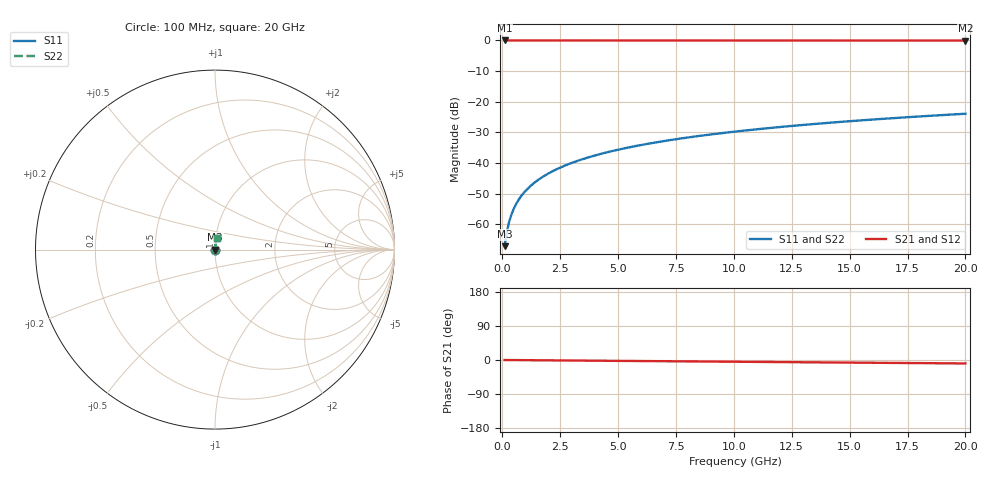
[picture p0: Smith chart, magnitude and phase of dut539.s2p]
! Touchstone file exported from HFSS 2026.1.0
!  File:  C:/ffzhzh/LocalFiles/Ansys_Project_Files/temp_train_TSV_539_1783023982_46388.aedt
!  Generated:  04:28:18 AM Jul  3, 2026
!  Design:  TSV
!  Project:  temp_train_TSV_539_1783023982_46388
! Variables:
!  h_bsmrdl = 2um
!  h_ox = 20um
!  h_rdl = 5um
!  h_sub = 80.97um
!  h_tmrdl = 5um
!  h_tsv = 80.97um
!  h_via = 3um
!  l_bsmrdl = 300um
!  l_sub = 413.1um
!  l_tmrdl = 200um
!  m_sub = 200um
!  pitch = 47.73um
!  r_tsv = 6.55um
!  s_tmrdl = 10um
!  w_bsmrdl = 18um
!  w_sub = 500um
!  w_tmrdl = 12um
!  x_tsv_center1 = 206um
!  x_tsv_center2 = 524um
!  x_tsv_center3 = 736um
!  x_tsv_center4 = 1054um
!  x_tsv_center5 = 1266um
!  x_tsv_center6 = 1584um
# GHz S MA R 50.000000
! Terminal data exported
! Port[1] = TSV1_1_T1
! Port[2] = TSV1_1_T2
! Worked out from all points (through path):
!   200 points, 100 MHz to 20 GHz, reference 50 ohm
!   highest |S21| = 0.00 dB at 100 MHz (marker M1); lowest = 0.0 dB at 20 GHz (marker M2)
!   group delay of S21, straight-line fit = 1.26 ps
!   lowest |S11| = -67.1 dB at 100 MHz (marker M3), VSWR 1.00, Z = 50 + j0.0364 ohm
!   |S11| at or under -10 dB: start of sweep to end of sweep
!   |S22| runs from -67.1 to -23.9 dB; largest |S21 - S12| = 2e-15
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0.1  0.0004414 55.5  0.9998 -0.0  0.9998 -0.0  0.0004414 55.5
! Gamma 0 0 0 0
! Port Impedance 50 0 50 0
0.2  0.0007708 70.3  0.9997 -0.1  0.9997 -0.1  0.0007708 70.3
0.3  0.001119 75.7  0.9997 -0.1  0.9997 -0.1  0.001119 75.7
0.4  0.001469 78.4  0.9997 -0.2  0.9997 -0.2  0.001469 78.4
0.5  0.001817 79.9  0.9997 -0.2  0.9997 -0.2  0.001817 79.9
0.6  0.002161 80.8  0.9997 -0.3  0.9997 -0.3  0.002161 80.8
0.7  0.002503 81.5  0.9996 -0.3  0.9996 -0.3  0.002503 81.5
0.8  0.002841 82.0  0.9996 -0.4  0.9996 -0.4  0.002841 82.0
1  0.003511 82.7  0.9996 -0.5  0.9996 -0.5  0.003511 82.7
1.4  0.004832 83.6  0.9995 -0.7  0.9995 -0.7  0.004832 83.6
1.7  0.005817 84.0  0.9995 -0.8  0.9995 -0.8  0.005817 84.0
2  0.006799 84.3  0.9994 -0.9  0.9994 -0.9  0.006799 84.3
2.7  0.009083 84.7  0.9993 -1.3  0.9993 -1.3  0.009083 84.7
3.5  0.01168 84.8  0.9992 -1.6  0.9992 -1.6  0.01168 84.8
4.2  0.01395 84.8  0.9991 -1.9  0.9991 -1.9  0.01395 84.8
5  0.01652 84.7  0.999 -2.3  0.999 -2.3  0.01652 84.7
6.8  0.02228 84.3  0.9987 -3.1  0.9987 -3.1  0.02228 84.3
8.3  0.02706 83.8  0.9985 -3.8  0.9985 -3.8  0.02706 83.8
10.1  0.03277 83.2  0.9982 -4.6  0.9982 -4.6  0.03277 83.2
13.4  0.04318 82.0  0.9977 -6.1  0.9977 -6.1  0.04318 82.0
16.7  0.05352 80.7  0.997 -7.6  0.997 -7.6  0.05352 80.7
20  0.06377 79.3  0.9962 -9.1  0.9962 -9.1  0.06377 79.3
